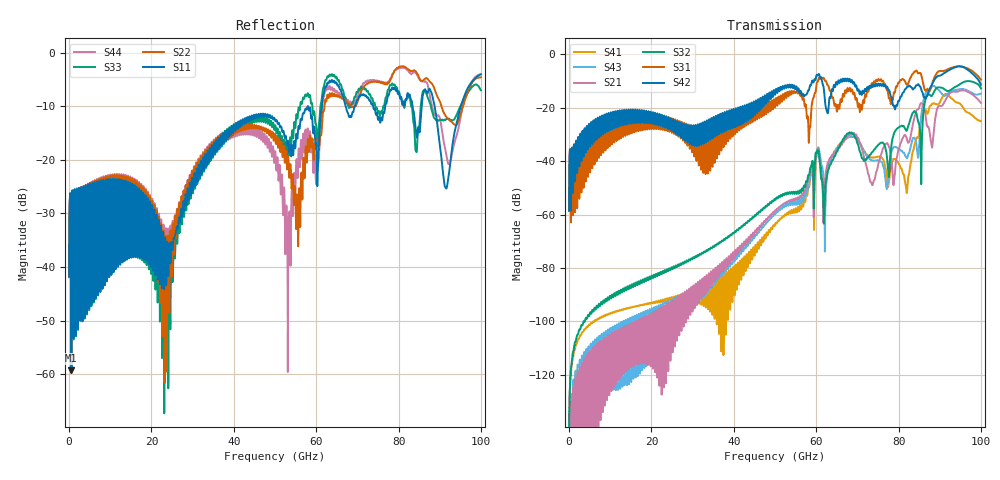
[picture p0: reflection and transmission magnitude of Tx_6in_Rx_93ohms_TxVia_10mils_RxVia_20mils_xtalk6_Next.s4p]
! Info: Touchstone file created by Circ.  Input file=Tx_6in_Rx_93ohms_TxVia_10mils_RxVia_20mils.circ
# Hz S RI R 50
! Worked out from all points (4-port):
!   10000 points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, 10 MHz to 100 GHz, reference 50 ohm
!   strongest paths, dB at 10 MHz, 25.01 GHz, 50.01 GHz, 75.01 GHz, 100 GHz:
!     S42: -58.6, -28.1, -15.2, -11.2, -11.4
!     S31: -58.6, -28.1, -19.9, -9.6, -9.5
!     S32: -144.7, -80.2, -54.4, -34.0, -12.8
!     S21: -160.4, -95.1, -58.5, -41.5, -18.1
!     S43: -146.6, -92.4, -59.8, -39.7, -14.7
!     S41: -144.8, -91.4, -63.7, -38.3, -25.0
!   lowest |S11| = -59.3 dB at 540 MHz (marker M1), VSWR 1.00, Z = 49.9 + j0.000944 ohm
!   |S11| at or under -10 dB: start of sweep to 57.93 GHz; 58.03 GHz to 61.4 GHz (3.363 GHz wide, 5.63 % of centre); 88.77 GHz to 95.13 GHz (6.353 GHz wide, 6.91 % of centre)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
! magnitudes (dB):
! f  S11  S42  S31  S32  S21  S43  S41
! 10 MHz  -41.7  -58.6  -58.6  -144.7  -160.4  -146.6  -144.8
! 540 MHz  -59.3  -42.4  -42.5  -116.7  -130.0  -127.3  -117.5
! 24.09 GHz  -41.7  -23.9  -23.6  -81.2  -115.1  -102.0  -92.5
! 37.67 GHz  -16.6  -24.1  -26.0  -69.2  -77.3  -79.6  -83.5
! 60.38 GHz  -22.1  -7.9  -10.3  -35.8  -35.7  -35.2  -36.2
! 77.11 GHz  -9.3  -12.3  -13.3  -37.4  -33.4  -50.3  -45.3
! 100 GHz  -4.0  -11.4  -9.5  -12.8  -18.1  -14.7  -25.0
